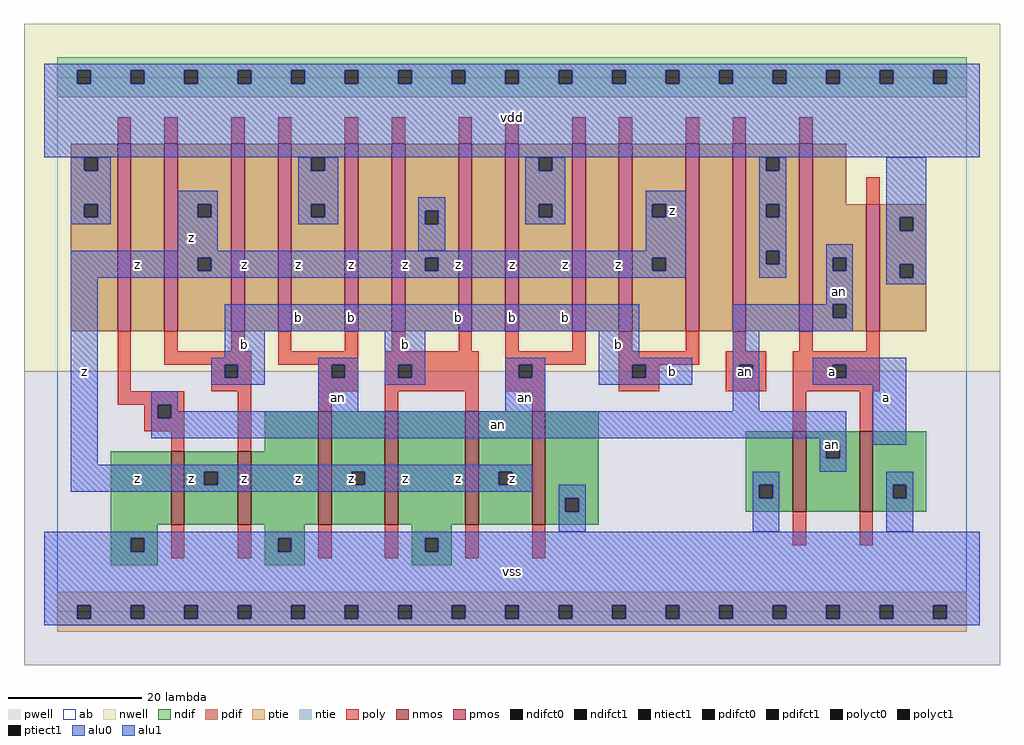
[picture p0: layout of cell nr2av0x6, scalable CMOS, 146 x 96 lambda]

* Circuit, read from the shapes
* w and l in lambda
.subckt nr2av0x6 a an b vdd vss z
M1 z an vss vss nfet w=11 l=2
M2 vss b z vss nfet w=11 l=2
M3 z an vss vss nfet w=17 l=2 m=2
M4 vss b z vss nfet w=17 l=2 m=2
M5 an a vss vss nfet w=12 l=2 m=2
M6 n1 an vdd vdd pfet w=28 l=2
M7 z b n1 vdd pfet w=28 l=2
M8 n2 b z vdd pfet w=28 l=2
M9 vdd an n2 vdd pfet w=28 l=2
M10 n3 an vdd vdd pfet w=28 l=2
M11 z b n3 vdd pfet w=28 l=2
M12 n4 b z vdd pfet w=28 l=2
M13 vdd an n4 vdd pfet w=28 l=2
M14 n5 an vdd vdd pfet w=28 l=2
M15 z b n5 vdd pfet w=28 l=2
M16 n6 b z vdd pfet w=28 l=2
M17 vdd an n6 vdd pfet w=28 l=2
M18 an a vdd vdd pfet w=28 l=2
M19 vdd a an vdd pfet w=19 l=2
.ends

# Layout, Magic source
magic
tech scmos
<< ab >>
rect 0 0 136 80
<< nwell >>
rect -5 36 141 88
<< pwell >>
rect -5 -8 141 36
<< poly >>
rect 9 70 11 74
rect 16 70 18 74
rect 26 70 28 74
rect 33 70 35 74
rect 43 70 45 74
rect 50 70 52 74
rect 60 70 62 74
rect 67 70 69 74
rect 77 70 79 74
rect 84 70 86 74
rect 94 70 96 74
rect 101 70 103 74
rect 111 70 113 74
rect 121 61 123 65
rect 9 33 11 42
rect 16 39 18 42
rect 26 39 28 42
rect 33 39 35 42
rect 43 39 45 42
rect 50 39 52 42
rect 60 39 62 42
rect 67 39 69 42
rect 77 39 79 42
rect 16 37 29 39
rect 33 37 45 39
rect 23 35 25 37
rect 27 35 29 37
rect 23 33 29 35
rect 9 31 19 33
rect 13 29 15 31
rect 17 29 19 31
rect 13 27 19 29
rect 17 24 19 27
rect 27 24 29 33
rect 39 35 41 37
rect 43 35 45 37
rect 39 33 45 35
rect 49 37 63 39
rect 49 35 51 37
rect 53 35 63 37
rect 49 33 63 35
rect 67 37 79 39
rect 84 39 86 42
rect 94 39 96 42
rect 101 39 103 42
rect 111 39 113 42
rect 121 39 123 42
rect 84 37 96 39
rect 100 37 106 39
rect 67 35 69 37
rect 71 35 73 37
rect 67 33 73 35
rect 84 35 86 37
rect 88 35 90 37
rect 84 33 90 35
rect 100 35 102 37
rect 104 35 106 37
rect 100 33 106 35
rect 110 37 123 39
rect 110 35 116 37
rect 118 35 123 37
rect 110 33 123 35
rect 39 30 41 33
rect 49 30 51 33
rect 61 30 63 33
rect 71 30 73 33
rect 110 27 112 33
rect 120 27 122 33
rect 17 8 19 13
rect 27 8 29 13
rect 39 8 41 13
rect 49 8 51 13
rect 61 8 63 13
rect 71 8 73 13
rect 110 10 112 15
rect 120 10 122 15
<< ndif >>
rect 31 24 39 30
rect 8 13 17 24
rect 19 21 27 24
rect 19 19 22 21
rect 24 19 27 21
rect 19 13 27 19
rect 29 13 39 24
rect 41 21 49 30
rect 41 19 44 21
rect 46 19 49 21
rect 41 13 49 19
rect 51 13 61 30
rect 63 21 71 30
rect 63 19 66 21
rect 68 19 71 21
rect 63 13 71 19
rect 73 17 81 30
rect 73 15 76 17
rect 78 15 81 17
rect 103 19 110 27
rect 103 17 105 19
rect 107 17 110 19
rect 103 15 110 17
rect 112 25 120 27
rect 112 23 115 25
rect 117 23 120 25
rect 112 15 120 23
rect 122 19 130 27
rect 122 17 125 19
rect 127 17 130 19
rect 122 15 130 17
rect 73 13 81 15
rect 8 11 15 13
rect 8 9 11 11
rect 13 9 15 11
rect 8 7 15 9
rect 31 11 37 13
rect 31 9 33 11
rect 35 9 37 11
rect 31 7 37 9
rect 53 11 59 13
rect 53 9 55 11
rect 57 9 59 11
rect 53 7 59 9
<< pdif >>
rect 2 68 9 70
rect 2 66 4 68
rect 6 66 9 68
rect 2 61 9 66
rect 2 59 4 61
rect 6 59 9 61
rect 2 42 9 59
rect 11 42 16 70
rect 18 61 26 70
rect 18 59 21 61
rect 23 59 26 61
rect 18 53 26 59
rect 18 51 21 53
rect 23 51 26 53
rect 18 42 26 51
rect 28 42 33 70
rect 35 68 43 70
rect 35 66 38 68
rect 40 66 43 68
rect 35 61 43 66
rect 35 59 38 61
rect 40 59 43 61
rect 35 42 43 59
rect 45 42 50 70
rect 52 60 60 70
rect 52 58 55 60
rect 57 58 60 60
rect 52 53 60 58
rect 52 51 55 53
rect 57 51 60 53
rect 52 42 60 51
rect 62 42 67 70
rect 69 68 77 70
rect 69 66 72 68
rect 74 66 77 68
rect 69 61 77 66
rect 69 59 72 61
rect 74 59 77 61
rect 69 42 77 59
rect 79 42 84 70
rect 86 61 94 70
rect 86 59 89 61
rect 91 59 94 61
rect 86 53 94 59
rect 86 51 89 53
rect 91 51 94 53
rect 86 42 94 51
rect 96 42 101 70
rect 103 68 111 70
rect 103 66 106 68
rect 108 66 111 68
rect 103 61 111 66
rect 103 59 106 61
rect 108 59 111 61
rect 103 54 111 59
rect 103 52 106 54
rect 108 52 111 54
rect 103 42 111 52
rect 113 61 118 70
rect 113 53 121 61
rect 113 51 116 53
rect 118 51 121 53
rect 113 46 121 51
rect 113 44 116 46
rect 118 44 121 46
rect 113 42 121 44
rect 123 59 130 61
rect 123 57 126 59
rect 128 57 130 59
rect 123 52 130 57
rect 123 50 126 52
rect 128 50 130 52
rect 123 42 130 50
<< alu1 >>
rect -2 81 138 82
rect -2 79 3 81
rect 5 79 11 81
rect 13 79 19 81
rect 21 79 27 81
rect 29 79 35 81
rect 37 79 43 81
rect 45 79 51 81
rect 53 79 59 81
rect 61 79 67 81
rect 69 79 75 81
rect 77 79 83 81
rect 85 79 91 81
rect 93 79 99 81
rect 101 79 107 81
rect 109 79 115 81
rect 117 79 123 81
rect 125 79 131 81
rect 133 79 138 81
rect -2 68 138 79
rect 18 61 24 63
rect 18 59 21 61
rect 23 59 24 61
rect 18 54 24 59
rect 88 61 94 63
rect 88 59 89 61
rect 91 59 94 61
rect 88 54 94 59
rect 2 53 94 54
rect 2 51 21 53
rect 23 51 55 53
rect 57 51 89 53
rect 91 51 94 53
rect 2 50 94 51
rect 2 22 6 50
rect 25 42 87 46
rect 25 38 31 42
rect 23 37 31 38
rect 23 35 25 37
rect 27 35 31 37
rect 23 34 31 35
rect 49 37 55 42
rect 81 38 87 42
rect 49 35 51 37
rect 53 35 55 37
rect 49 34 55 35
rect 81 37 95 38
rect 81 35 86 37
rect 88 35 95 37
rect 81 34 95 35
rect 113 37 127 38
rect 113 35 116 37
rect 118 35 127 37
rect 113 34 127 35
rect 122 25 127 34
rect 2 21 71 22
rect 2 19 22 21
rect 24 19 44 21
rect 46 19 66 21
rect 68 19 71 21
rect 2 18 71 19
rect -2 11 138 12
rect -2 9 11 11
rect 13 9 33 11
rect 35 9 55 11
rect 57 9 138 11
rect -2 1 138 9
rect -2 -1 3 1
rect 5 -1 11 1
rect 13 -1 19 1
rect 21 -1 27 1
rect 29 -1 35 1
rect 37 -1 43 1
rect 45 -1 51 1
rect 53 -1 59 1
rect 61 -1 67 1
rect 69 -1 75 1
rect 77 -1 83 1
rect 85 -1 91 1
rect 93 -1 99 1
rect 101 -1 107 1
rect 109 -1 115 1
rect 117 -1 123 1
rect 125 -1 131 1
rect 133 -1 138 1
rect -2 -2 138 -1
<< ptie >>
rect 0 1 136 3
rect 0 -1 3 1
rect 5 -1 11 1
rect 13 -1 19 1
rect 21 -1 27 1
rect 29 -1 35 1
rect 37 -1 43 1
rect 45 -1 51 1
rect 53 -1 59 1
rect 61 -1 67 1
rect 69 -1 75 1
rect 77 -1 83 1
rect 85 -1 91 1
rect 93 -1 99 1
rect 101 -1 107 1
rect 109 -1 115 1
rect 117 -1 123 1
rect 125 -1 131 1
rect 133 -1 136 1
rect 0 -3 136 -1
<< ntie >>
rect 0 81 136 83
rect 0 79 3 81
rect 5 79 11 81
rect 13 79 19 81
rect 21 79 27 81
rect 29 79 35 81
rect 37 79 43 81
rect 45 79 51 81
rect 53 79 59 81
rect 61 79 67 81
rect 69 79 75 81
rect 77 79 83 81
rect 85 79 91 81
rect 93 79 99 81
rect 101 79 107 81
rect 109 79 115 81
rect 117 79 123 81
rect 125 79 131 81
rect 133 79 136 81
rect 0 77 136 79
<< nmos >>
rect 17 13 19 24
rect 27 13 29 24
rect 39 13 41 30
rect 49 13 51 30
rect 61 13 63 30
rect 71 13 73 30
rect 110 15 112 27
rect 120 15 122 27
<< pmos >>
rect 9 42 11 70
rect 16 42 18 70
rect 26 42 28 70
rect 33 42 35 70
rect 43 42 45 70
rect 50 42 52 70
rect 60 42 62 70
rect 67 42 69 70
rect 77 42 79 70
rect 84 42 86 70
rect 94 42 96 70
rect 101 42 103 70
rect 111 42 113 70
rect 121 42 123 61
<< polyct0 >>
rect 15 29 17 31
rect 41 35 43 37
rect 69 35 71 37
rect 102 35 104 37
<< polyct1 >>
rect 25 35 27 37
rect 51 35 53 37
rect 86 35 88 37
rect 116 35 118 37
<< ndifct0 >>
rect 76 15 78 17
rect 105 17 107 19
rect 115 23 117 25
rect 125 17 127 19
<< ndifct1 >>
rect 22 19 24 21
rect 44 19 46 21
rect 66 19 68 21
rect 11 9 13 11
rect 33 9 35 11
rect 55 9 57 11
<< ntiect1 >>
rect 3 79 5 81
rect 11 79 13 81
rect 19 79 21 81
rect 27 79 29 81
rect 35 79 37 81
rect 43 79 45 81
rect 51 79 53 81
rect 59 79 61 81
rect 67 79 69 81
rect 75 79 77 81
rect 83 79 85 81
rect 91 79 93 81
rect 99 79 101 81
rect 107 79 109 81
rect 115 79 117 81
rect 123 79 125 81
rect 131 79 133 81
<< ptiect1 >>
rect 3 -1 5 1
rect 11 -1 13 1
rect 19 -1 21 1
rect 27 -1 29 1
rect 35 -1 37 1
rect 43 -1 45 1
rect 51 -1 53 1
rect 59 -1 61 1
rect 67 -1 69 1
rect 75 -1 77 1
rect 83 -1 85 1
rect 91 -1 93 1
rect 99 -1 101 1
rect 107 -1 109 1
rect 115 -1 117 1
rect 123 -1 125 1
rect 131 -1 133 1
<< pdifct0 >>
rect 4 66 6 68
rect 4 59 6 61
rect 38 66 40 68
rect 38 59 40 61
rect 55 58 57 60
rect 72 66 74 68
rect 72 59 74 61
rect 106 66 108 68
rect 106 59 108 61
rect 106 52 108 54
rect 116 51 118 53
rect 116 44 118 46
rect 126 57 128 59
rect 126 50 128 52
<< pdifct1 >>
rect 21 59 23 61
rect 21 51 23 53
rect 55 51 57 53
rect 89 59 91 61
rect 89 51 91 53
<< alu0 >>
rect 2 66 4 68
rect 6 66 8 68
rect 2 61 8 66
rect 36 66 38 68
rect 40 66 42 68
rect 2 59 4 61
rect 6 59 8 61
rect 2 58 8 59
rect 36 61 42 66
rect 70 66 72 68
rect 74 66 76 68
rect 36 59 38 61
rect 40 59 42 61
rect 36 58 42 59
rect 54 60 58 62
rect 54 58 55 60
rect 57 58 58 60
rect 70 61 76 66
rect 105 66 106 68
rect 108 66 109 68
rect 70 59 72 61
rect 74 59 76 61
rect 70 58 76 59
rect 54 54 58 58
rect 105 61 109 66
rect 105 59 106 61
rect 108 59 109 61
rect 105 54 109 59
rect 124 59 130 68
rect 124 57 126 59
rect 128 57 130 59
rect 105 52 106 54
rect 108 52 109 54
rect 105 50 109 52
rect 115 53 119 55
rect 115 51 116 53
rect 118 51 119 53
rect 115 46 119 51
rect 124 52 130 57
rect 124 50 126 52
rect 128 50 130 52
rect 124 49 130 50
rect 39 37 45 38
rect 39 35 41 37
rect 43 35 45 37
rect 14 31 18 33
rect 14 29 15 31
rect 17 30 18 31
rect 39 30 45 35
rect 101 44 116 46
rect 118 44 119 46
rect 101 42 119 44
rect 67 37 73 38
rect 67 35 69 37
rect 71 35 73 37
rect 67 30 73 35
rect 101 37 105 42
rect 101 35 102 37
rect 104 35 105 37
rect 101 30 105 35
rect 17 29 118 30
rect 14 26 118 29
rect 114 25 118 26
rect 114 23 115 25
rect 117 23 118 25
rect 114 21 118 23
rect 104 19 108 21
rect 75 17 79 19
rect 75 15 76 17
rect 78 15 79 17
rect 75 12 79 15
rect 104 17 105 19
rect 107 17 108 19
rect 104 12 108 17
rect 124 19 128 21
rect 124 17 125 19
rect 127 17 128 19
rect 124 12 128 17
<< labels >>
rlabel alu0 42 32 42 32 6 an
rlabel alu0 70 32 70 32 6 an
rlabel polyct0 103 36 103 36 6 an
rlabel alu0 66 28 66 28 6 an
rlabel alu0 116 25 116 25 6 an
rlabel alu0 117 48 117 48 6 an
rlabel alu1 12 20 12 20 6 z
rlabel alu1 20 20 20 20 6 z
rlabel alu1 4 36 4 36 6 z
rlabel alu1 12 52 12 52 6 z
rlabel alu1 20 56 20 56 6 z
rlabel alu1 28 20 28 20 6 z
rlabel alu1 36 20 36 20 6 z
rlabel alu1 44 20 44 20 6 z
rlabel alu1 28 40 28 40 6 b
rlabel alu1 36 44 36 44 6 b
rlabel alu1 44 44 44 44 6 b
rlabel alu1 36 52 36 52 6 z
rlabel alu1 44 52 44 52 6 z
rlabel alu1 28 52 28 52 6 z
rlabel alu1 68 6 68 6 6 vss
rlabel alu1 52 20 52 20 6 z
rlabel alu1 60 20 60 20 6 z
rlabel alu1 68 20 68 20 6 z
rlabel alu1 52 40 52 40 6 b
rlabel alu1 60 44 60 44 6 b
rlabel alu1 68 44 68 44 6 b
rlabel alu1 76 44 76 44 6 b
rlabel alu1 60 52 60 52 6 z
rlabel alu1 68 52 68 52 6 z
rlabel alu1 76 52 76 52 6 z
rlabel alu1 52 52 52 52 6 z
rlabel alu1 68 74 68 74 6 vdd
rlabel alu1 84 40 84 40 6 b
rlabel alu1 92 36 92 36 6 b
rlabel alu1 84 52 84 52 6 z
rlabel alu1 92 60 92 60 6 z
rlabel alu1 124 32 124 32 6 a
rlabel alu1 116 36 116 36 6 a
<< end >>
